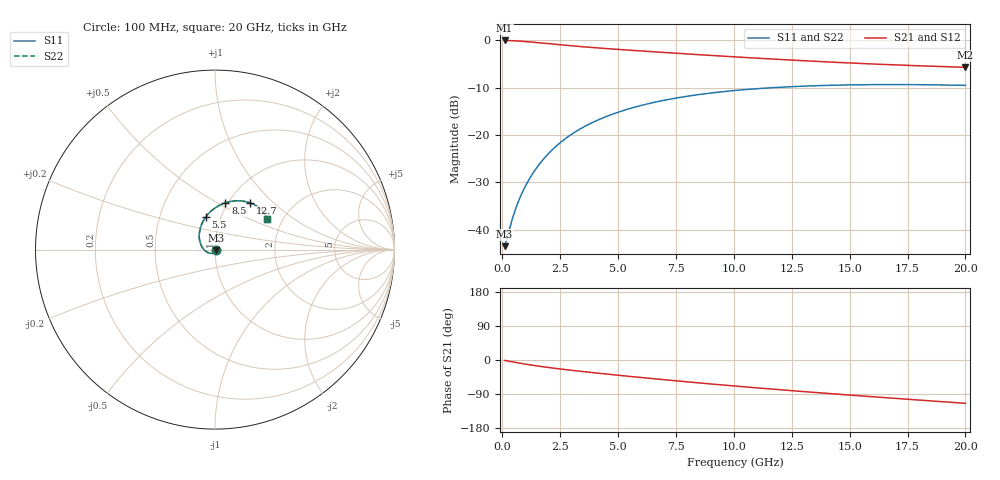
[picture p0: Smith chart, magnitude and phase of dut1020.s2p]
! Touchstone file exported from HFSS 2024.1.0
!  File:  C:/UserFiles/LocalFiles/RDL_TSV_Batchsim/temp_RDL_TSV_1020_1780081041.aedt
!  Generated:  03:11:16 AM May 30, 2026
!  Design:  RDL_TSV
!  Project:  temp_RDL_TSV_1020_1780081041
!  Setup:  Setup1
!  Solution:  Sweep
! Variables:
!  dtsv = 12.07um
!  hbump = 3um
!  htsv = 58.47um
!  ldown = 246.82um
!  lrdl = 192.76um
!  p = 40
!  p1 = 52.92um
!  rhole = 10um
!  subl = 1511.5um
!  t = 450um
!  tdown = 4.89um
!  trdl = 3.66um
!  viad = 10um
!  wdown = 28.18um
!  wrdl = 21.27um
!  xbump = 18um
# GHz S MA R 50.000000
! Terminal data exported
! Port[1] = TM1_1_T1
! Port[2] = TM1_4_T1
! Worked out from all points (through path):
!   200 points, 100 MHz to 20 GHz, reference 50 ohm
!   highest |S21| = -0.06 dB at 100 MHz (marker M1); lowest = -5.7 dB at 20 GHz (marker M2)
!   group delay of S21, straight-line fit = 15 ps
!   lowest |S11| = -43.4 dB at 100 MHz (marker M3), VSWR 1.01, Z = 50.6 - j0.295 ohm
!   |S11| at or under -10 dB: start of sweep to 11.71 GHz
!   |S22| runs from -43.4 to -9.4 dB; largest |S21 - S12| = 4.5e-14
!   S11 on the Smith chart (normalised r, x): 100 MHz: 1.01, -0.01; 5.5 GHz: 0.85, +0.32; 8.5 GHz: 0.97, +0.55; 12.7 GHz: 1.25, +0.73; 20 GHz: 1.66, +0.63
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0.1  0.006741 -25.6  0.9933 -1.2  0.9933 -1.2  0.006741 -25.6
! Gamma 0 0 0 0
! Port Impedance 50 0 50 0
0.2  0.008105 -47.6  0.9921 -2.3  0.9921 -2.3  0.008106 -47.6
0.4  0.01226 -79.5  0.9881 -4.6  0.9881 -4.6  0.01226 -79.5
0.5  0.01471 -91.3  0.9855 -5.7  0.9855 -5.7  0.01471 -91.3
0.7  0.02008 -110.6  0.9791 -7.8  0.9791 -7.8  0.02008 -110.5
0.8  0.02295 -118.7  0.9754 -8.9  0.9754 -8.9  0.02295 -118.7
1  0.02901 -133.0  0.967 -10.9  0.967 -10.9  0.029 -133.0
1.3  0.0388 -150.9  0.9529 -13.8  0.9529 -13.8  0.03879 -150.9
1.5  0.04573 -161.2  0.9428 -15.6  0.9428 -15.6  0.04571 -161.1
1.8  0.05656 -174.5  0.9275 -18.2  0.9275 -18.2  0.05654 -174.5
2.3  0.07537 167.2  0.9027 -22.2  0.9027 -22.2  0.07533 167.2
2.9  0.09835 150.0  0.8755 -26.5  0.8755 -26.5  0.09829 150.1
3.5  0.121 136.4  0.8511 -30.6  0.8511 -30.6  0.121 136.4
4.4  0.1536 120.4  0.8189 -36.5  0.8189 -36.5  0.1535 120.4
5.5  0.19 105.4  0.7842 -43.3  0.7842 -43.3  0.1899 105.4
6.8  0.2276 91.5  0.7471 -51.0  0.7471 -51.0  0.2274 91.5
8.5  0.2674 77.4  0.7029 -60.5  0.7029 -60.5  0.2671 77.4
10.1  0.2957 66.8  0.6654 -69.0  0.6654 -69.0  0.2954 66.8
12.7  0.3254 53.3  0.6129 -81.9  0.6129 -81.9  0.325 53.2
13.4  0.3304 50.2  0.6005 -85.2  0.6005 -85.2  0.33 50.2
16.7  0.3406 38.4  0.5521 -100.1  0.5521 -100.1  0.3402 38.4
20  0.3341 30.2  0.5177 -114.3  0.5177 -114.3  0.3336 30.2
